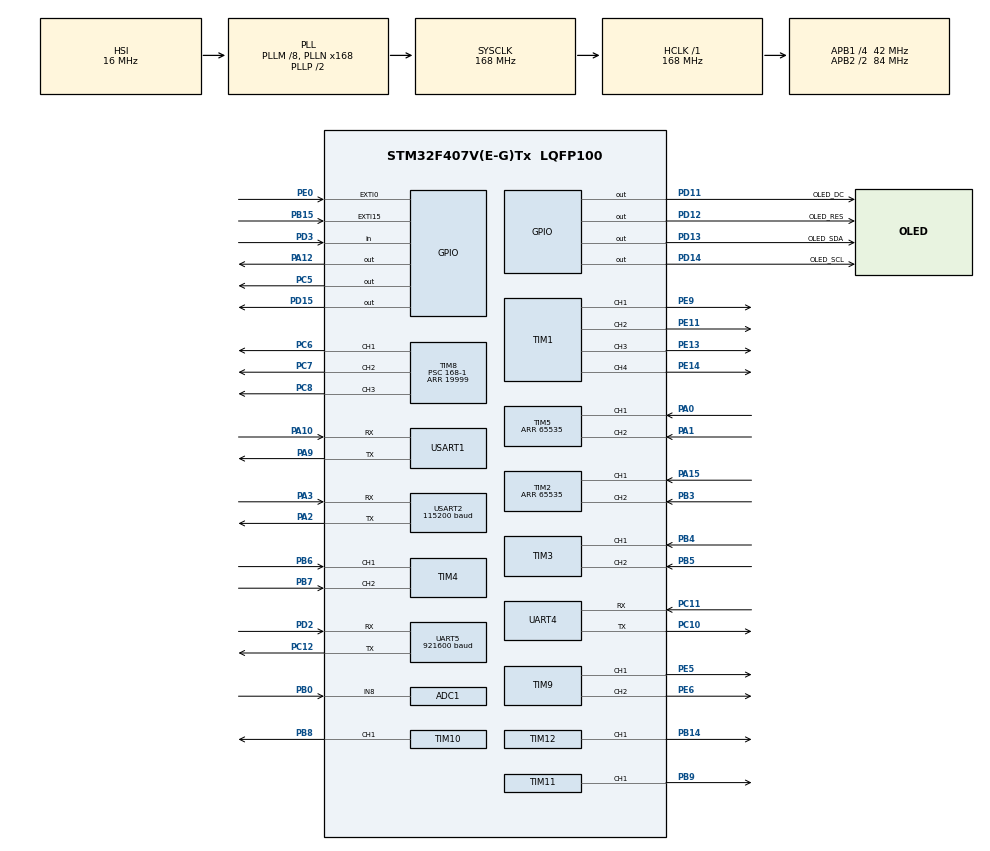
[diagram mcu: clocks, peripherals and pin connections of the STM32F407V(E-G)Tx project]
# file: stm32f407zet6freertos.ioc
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ADC1.Channel-2\#ChannelRegularConversion=ADC_CHANNEL_8
ADC1.NbrOfConversionFlag=1
ADC1.Rank-2\#ChannelRegularConversion=1
ADC1.SamplingTime-2\#ChannelRegularConversion=ADC_SAMPLETIME_3CYCLES
ADC1.master=1
Dma.Request0=USART1_RX
Dma.Request1=USART1_TX
Dma.Request2=UART5_RX
Dma.Request3=UART5_TX
Dma.Request4=UART4_RX
Dma.Request5=UART4_TX
Dma.Request6=USART2_RX
Dma.Request7=USART2_TX
Dma.UART4_RX.4.Direction=DMA_PERIPH_TO_MEMORY
Dma.UART4_RX.4.FIFOMode=DMA_FIFOMODE_DISABLE
Dma.UART4_RX.4.Instance=DMA1_Stream2
Dma.UART4_RX.4.MemDataAlignment=DMA_MDATAALIGN_BYTE
Dma.UART4_RX.4.MemInc=DMA_MINC_ENABLE
Dma.UART4_RX.4.Mode=DMA_NORMAL
Dma.UART4_RX.4.PeriphDataAlignment=DMA_PDATAALIGN_BYTE
Dma.UART4_RX.4.PeriphInc=DMA_PINC_DISABLE
Dma.UART4_RX.4.Priority=DMA_PRIORITY_LOW
Dma.UART4_TX.5.Direction=DMA_MEMORY_TO_PERIPH
Dma.UART4_TX.5.FIFOMode=DMA_FIFOMODE_DISABLE
Dma.UART4_TX.5.Instance=DMA1_Stream4
Dma.UART4_TX.5.MemDataAlignment=DMA_MDATAALIGN_BYTE
Dma.UART4_TX.5.MemInc=DMA_MINC_ENABLE
Dma.UART4_TX.5.Mode=DMA_NORMAL
Dma.UART4_TX.5.PeriphDataAlignment=DMA_PDATAALIGN_BYTE
Dma.UART4_TX.5.PeriphInc=DMA_PINC_DISABLE
Dma.UART4_TX.5.Priority=DMA_PRIORITY_LOW
Dma.UART5_RX.2.Direction=DMA_PERIPH_TO_MEMORY
Dma.UART5_RX.2.FIFOMode=DMA_FIFOMODE_DISABLE
Dma.UART5_RX.2.Instance=DMA1_Stream0
Dma.UART5_RX.2.MemDataAlignment=DMA_MDATAALIGN_BYTE
Dma.UART5_RX.2.MemInc=DMA_MINC_ENABLE
Dma.UART5_RX.2.Mode=DMA_NORMAL
Dma.UART5_RX.2.PeriphDataAlignment=DMA_PDATAALIGN_BYTE
Dma.UART5_RX.2.PeriphInc=DMA_PINC_DISABLE
Dma.UART5_RX.2.Priority=DMA_PRIORITY_LOW
Dma.UART5_TX.3.Direction=DMA_MEMORY_TO_PERIPH
Dma.UART5_TX.3.FIFOMode=DMA_FIFOMODE_DISABLE
Dma.UART5_TX.3.Instance=DMA1_Stream7
Dma.UART5_TX.3.MemDataAlignment=DMA_MDATAALIGN_BYTE
Dma.UART5_TX.3.MemInc=DMA_MINC_ENABLE
Dma.UART5_TX.3.Mode=DMA_NORMAL
Dma.UART5_TX.3.PeriphDataAlignment=DMA_PDATAALIGN_BYTE
Dma.UART5_TX.3.PeriphInc=DMA_PINC_DISABLE
Dma.UART5_TX.3.Priority=DMA_PRIORITY_LOW
Dma.USART1_RX.0.Direction=DMA_PERIPH_TO_MEMORY
Dma.USART1_RX.0.FIFOMode=DMA_FIFOMODE_DISABLE
Dma.USART1_RX.0.Instance=DMA2_Stream2
Dma.USART1_RX.0.MemDataAlignment=DMA_MDATAALIGN_BYTE
Dma.USART1_RX.0.MemInc=DMA_MINC_ENABLE
Dma.USART1_RX.0.Mode=DMA_NORMAL
Dma.USART1_RX.0.PeriphDataAlignment=DMA_PDATAALIGN_BYTE
Dma.USART1_RX.0.PeriphInc=DMA_PINC_DISABLE
Dma.USART1_RX.0.Priority=DMA_PRIORITY_LOW
Dma.USART1_TX.1.Direction=DMA_MEMORY_TO_PERIPH
Dma.USART1_TX.1.FIFOMode=DMA_FIFOMODE_DISABLE
Dma.USART1_TX.1.Instance=DMA2_Stream7
Dma.USART1_TX.1.MemDataAlignment=DMA_MDATAALIGN_BYTE
Dma.USART1_TX.1.MemInc=DMA_MINC_ENABLE
Dma.USART1_TX.1.Mode=DMA_NORMAL
Dma.USART1_TX.1.PeriphDataAlignment=DMA_PDATAALIGN_BYTE
Dma.USART1_TX.1.PeriphInc=DMA_PINC_DISABLE
Dma.USART1_TX.1.Priority=DMA_PRIORITY_LOW
Dma.USART2_RX.6.Direction=DMA_PERIPH_TO_MEMORY
Dma.USART2_RX.6.FIFOMode=DMA_FIFOMODE_DISABLE
Dma.USART2_RX.6.Instance=DMA1_Stream5
Dma.USART2_RX.6.MemDataAlignment=DMA_MDATAALIGN_BYTE
Dma.USART2_RX.6.MemInc=DMA_MINC_ENABLE
Dma.USART2_RX.6.Mode=DMA_NORMAL
Dma.USART2_RX.6.PeriphDataAlignment=DMA_PDATAALIGN_BYTE
Dma.USART2_RX.6.PeriphInc=DMA_PINC_DISABLE
Dma.USART2_RX.6.Priority=DMA_PRIORITY_LOW
Dma.USART2_TX.7.Direction=DMA_MEMORY_TO_PERIPH
Dma.USART2_TX.7.FIFOMode=DMA_FIFOMODE_DISABLE
Dma.USART2_TX.7.Instance=DMA1_Stream6
Dma.USART2_TX.7.MemDataAlignment=DMA_MDATAALIGN_BYTE
Dma.USART2_TX.7.MemInc=DMA_MINC_ENABLE
Dma.USART2_TX.7.Mode=DMA_NORMAL
Dma.USART2_TX.7.PeriphDataAlignment=DMA_PDATAALIGN_BYTE
Dma.USART2_TX.7.PeriphInc=DMA_PINC_DISABLE
Dma.USART2_TX.7.Priority=DMA_PRIORITY_LOW
FREERTOS.Tasks01=defaultTask,24,256,StartDefaultTask,Default,NULL,Dynamic,NULL,NULL;myTask02,8,128,StartTask02,Default,NULL,Dynamic,NULL,NULL;myTask03,8,256,StartTask03,Default,NULL,Dynamic,NULL,NULL;myTask04,8,256,StartTask04,Default,NULL,Dynamic,NULL,NULL
Mcu.Family=STM32F4
Mcu.Name=STM32F407V(E-G)Tx
Mcu.Package=LQFP100
NVIC.DMA1_Stream0_IRQn=true\:5\:0\:false\:false\:true\:true\:false\:true\:true
NVIC.DMA1_Stream2_IRQn=true\:5\:0\:false\:false\:true\:true\:false\:true\:true
NVIC.DMA1_Stream4_IRQn=true\:5\:0\:false\:false\:true\:true\:false\:true\:true
NVIC.DMA1_Stream5_IRQn=true\:5\:0\:false\:false\:true\:true\:false\:true\:true
NVIC.DMA1_Stream6_IRQn=true\:5\:0\:false\:false\:true\:true\:false\:true\:true
NVIC.DMA1_Stream7_IRQn=true\:5\:0\:false\:false\:true\:true\:false\:true\:true
NVIC.DMA2_Stream2_IRQn=true\:5\:0\:false\:false\:true\:true\:false\:true\:true
NVIC.DMA2_Stream7_IRQn=true\:5\:0\:false\:false\:true\:true\:false\:true\:true
NVIC.EXTI0_IRQn=true\:5\:0\:false\:false\:true\:true\:true\:true\:true
NVIC.EXTI15_10_IRQn=true\:5\:0\:false\:false\:true\:true\:true\:true\:true
NVIC.PriorityGroup=NVIC_PRIORITYGROUP_4
NVIC.TIM2_IRQn=true\:5\:0\:false\:false\:true\:true\:true\:true\:true
NVIC.TIM3_IRQn=true\:5\:0\:false\:false\:true\:true\:true\:true\:true
NVIC.TIM4_IRQn=true\:5\:0\:false\:false\:true\:true\:true\:true\:true
NVIC.TIM5_IRQn=true\:5\:0\:false\:false\:true\:true\:true\:true\:true
NVIC.TIM8_BRK_TIM12_IRQn=true\:5\:0\:false\:false\:true\:true\:true\:true\:true
NVIC.TIM8_TRG_COM_TIM14_IRQn=true\:5\:0\:false\:false\:true\:false\:false\:true\:true
NVIC.TIM8_UP_TIM13_IRQn=true\:5\:0\:false\:false\:true\:true\:true\:true\:true
NVIC.TimeBase=TIM8_TRG_COM_TIM14_IRQn
NVIC.TimeBaseIP=TIM14
NVIC.UART4_IRQn=true\:5\:0\:false\:false\:true\:true\:true\:true\:true
NVIC.UART5_IRQn=true\:5\:0\:false\:false\:true\:true\:true\:true\:true
NVIC.USART1_IRQn=true\:5\:0\:false\:false\:true\:true\:true\:true\:true
NVIC.USART2_IRQn=true\:5\:0\:false\:false\:true\:true\:true\:true\:true
PA0-WKUP.Signal=S_TIM5_CH1
PA1.Signal=S_TIM5_CH2
PA10.Mode=Asynchronous
PA10.Signal=USART1_RX
PA12.Signal=GPIO_Output
PA13.Mode=Serial_Wire
PA13.Signal=SYS_JTMS-SWDIO
PA14.Mode=Serial_Wire
PA14.Signal=SYS_JTCK-SWCLK
PA15.Signal=S_TIM2_CH1_ETR
PA2.Mode=Asynchronous
PA2.Signal=USART2_TX
PA3.Mode=Asynchronous
PA3.Signal=USART2_RX
PA9.Mode=Asynchronous
PA9.Signal=USART1_TX
PB0.Signal=ADCx_IN8
PB14.Signal=S_TIM12_CH1
PB15.GPIO_ModeDefaultEXTI=GPIO_MODE_IT_FALLING
PB15.GPIO_PuPd=GPIO_PULLUP
PB15.Signal=GPXTI15
PB3.Signal=S_TIM2_CH2
PB4.Signal=S_TIM3_CH1
PB5.Signal=S_TIM3_CH2
PB6.Signal=S_TIM4_CH1
PB7.Signal=S_TIM4_CH2
PB8.Signal=S_TIM10_CH1
PB9.Signal=S_TIM11_CH1
PC10.Mode=Asynchronous
PC10.Signal=UART4_TX
PC11.Mode=Asynchronous
PC11.Signal=UART4_RX
PC12.Mode=Asynchronous
PC12.Signal=UART5_TX
PC5.Signal=GPIO_Output
PC6.Signal=S_TIM8_CH1
PC7.Signal=S_TIM8_CH2
PC8.Signal=S_TIM8_CH3
PD11.GPIO_Label=OLED_DC
PD11.Signal=GPIO_Output
PD12.GPIO_Label=OLED_RES
PD12.Signal=GPIO_Output
PD13.GPIO_Label=OLED_SDA
PD13.Signal=GPIO_Output
PD14.GPIO_Label=OLED_SCL
PD14.Signal=GPIO_Output
PD15.Signal=GPIO_Output
PD2.Mode=Asynchronous
PD2.Signal=UART5_RX
PD3.Signal=GPIO_Input
PE0.GPIO_ModeDefaultEXTI=GPIO_MODE_IT_FALLING
PE0.GPIO_PuPd=GPIO_PULLUP
PE0.Signal=GPXTI0
PE11.Signal=S_TIM1_CH2
PE13.Signal=S_TIM1_CH3
PE14.Signal=S_TIM1_CH4
PE5.Signal=S_TIM9_CH1
PE6.Signal=S_TIM9_CH2
PE9.Signal=S_TIM1_CH1
PH0-OSC_IN.Mode=HSE-External-Oscillator
PH0-OSC_IN.Signal=RCC_OSC_IN
PH1-OSC_OUT.Mode=HSE-External-Oscillator
PH1-OSC_OUT.Signal=RCC_OSC_OUT
ProjectManager.HeapSize=0x200
ProjectManager.StackSize=0x400
ProjectManager.TargetToolchain=MDK-ARM V5.32
RCC.48MHZClocksFreq_Value=84000000
RCC.AHBFreq_Value=168000000
RCC.APB1CLKDivider=RCC_HCLK_DIV4
RCC.APB1Freq_Value=42000000
RCC.APB1TimFreq_Value=84000000
RCC.APB2CLKDivider=RCC_HCLK_DIV2
RCC.APB2Freq_Value=84000000
RCC.APB2TimFreq_Value=168000000
RCC.CortexFreq_Value=168000000
RCC.HCLKFreq_Value=168000000
RCC.HSE_VALUE=25000000
RCC.HSI_VALUE=16000000
RCC.LSE_VALUE=32768
RCC.PLLM=8
RCC.PLLN=168
RCC.SYSCLKFreq_VALUE=168000000
RCC.SYSCLKSource=RCC_SYSCLKSOURCE_PLLCLK
RCC.VCOOutputFreq_Value=336000000
SH.ADCx_IN8.0=ADC1_IN8,IN8
SH.S_TIM10_CH1.0=TIM10_CH1,PWM Generation1 CH1
SH.S_TIM11_CH1.0=TIM11_CH1,PWM Generation1 CH1
SH.S_TIM12_CH1.0=TIM12_CH1,PWM Generation1 CH1
SH.S_TIM1_CH1.0=TIM1_CH1,PWM Generation1 CH1
SH.S_TIM1_CH2.0=TIM1_CH2,PWM Generation2 CH2
SH.S_TIM1_CH3.0=TIM1_CH3,PWM Generation3 CH3
SH.S_TIM1_CH4.0=TIM1_CH4,PWM Generation4 CH4
SH.S_TIM2_CH1_ETR.0=TIM2_CH1,Encoder_Interface
SH.S_TIM2_CH2.0=TIM2_CH2,Encoder_Interface
SH.S_TIM3_CH1.0=TIM3_CH1,Encoder_Interface
SH.S_TIM3_CH2.0=TIM3_CH2,Encoder_Interface
SH.S_TIM4_CH1.0=TIM4_CH1,Encoder_Interface
SH.S_TIM4_CH2.0=TIM4_CH2,Encoder_Interface
SH.S_TIM5_CH1.0=TIM5_CH1,Encoder_Interface
SH.S_TIM5_CH2.0=TIM5_CH2,Encoder_Interface
SH.S_TIM8_CH1.0=TIM8_CH1,PWM Generation1 CH1
SH.S_TIM8_CH2.0=TIM8_CH2,PWM Generation2 CH2
SH.S_TIM8_CH3.0=TIM8_CH3,PWM Generation3 CH3
SH.S_TIM9_CH1.0=TIM9_CH1,PWM Generation1 CH1
SH.S_TIM9_CH2.0=TIM9_CH2,PWM Generation2 CH2
TIM1.Channel-PWM\ Generation1\ CH1=TIM_CHANNEL_1
TIM1.Channel-PWM\ Generation2\ CH2=TIM_CHANNEL_2
TIM1.Channel-PWM\ Generation3\ CH3=TIM_CHANNEL_3
TIM1.Channel-PWM\ Generation4\ CH4=TIM_CHANNEL_4
TIM10.Channel=TIM_CHANNEL_1
TIM11.Channel=TIM_CHANNEL_1
TIM12.Channel-PWM\ Generation1\ CH1=TIM_CHANNEL_1
TIM12.Period=19999
TIM12.Prescaler=84-1
TIM12.Pulse-PWM\ Generation1\ CH1=9999
TIM2.EncoderMode=TIM_ENCODERMODE_TI12
TIM2.Period=65535
TIM3.EncoderMode=TIM_ENCODERMODE_TI12
TIM4.EncoderMode=TIM_ENCODERMODE_TI12
TIM5.EncoderMode=TIM_ENCODERMODE_TI12
TIM5.Period=65535
TIM8.Channel-PWM\ Generation1\ CH1=TIM_CHANNEL_1
TIM8.Channel-PWM\ Generation2\ CH2=TIM_CHANNEL_2
TIM8.Channel-PWM\ Generation3\ CH3=TIM_CHANNEL_3
TIM8.Period=19999
TIM8.Prescaler=168-1
TIM9.Channel-PWM\ Generation1\ CH1=TIM_CHANNEL_1
TIM9.Channel-PWM\ Generation2\ CH2=TIM_CHANNEL_2
UART4.VirtualMode=Asynchronous
UART5.BaudRate=921600
UART5.VirtualMode=Asynchronous
USART1.VirtualMode=VM_ASYNC
USART2.BaudRate=115200
USART2.VirtualMode=VM_ASYNC
VP_FREERTOS_VS_CMSIS_V2.Mode=CMSIS_V2
VP_SYS_VS_tim14.Mode=TIM14
VP_TIM10_VS_ClockSourceINT.Mode=Enable_Timer
VP_TIM11_VS_ClockSourceINT.Mode=Enable_Timer
board=custom

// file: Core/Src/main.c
/* USER CODE BEGIN Header */
/**
 ******************************************************************************
 * @file           : main.c
 * @brief          : Main program body
 ******************************************************************************
 * @attention
 *
 * Copyright (c) 2024 STMicroelectronics.
 * All rights reserved.
 *
 * This software is licensed under terms that can be found in the LICENSE file
 * in the root directory of this software component.
 * If no LICENSE file comes with this software, it is provided AS-IS.
 *
 ******************************************************************************
 */
/* USER CODE END Header */
#include "main.h"
#include "cmsis_os.h"
#include "adc.h"
#include "dma.h"
#include "tim.h"
#include "usart.h"
#include "gpio.h"

/* USER CODE BEGIN Includes */
#include "oled.h"
#include "motor.h"
#include "mpu.h"
#include "openmv.h"
#include "stepper_a4988.h"
#include "servo.h"
/* USER CODE END Includes */

void SystemClock_Config(void);
void MX_FREERTOS_Init(void);

/* USER CODE BEGIN 0 */

int fputc(int ch, FILE *f)
{
  HAL_UART_Transmit(&huart1, (uint8_t *)&ch, 1, HAL_MAX_DELAY);
  return ch;
}

/*
串口DMA接收中断回调函数
*/
uint8_t Rx_data[200] = {0};
char received_string[256];
extern DMA_HandleTypeDef hdma_usart1_rx;
extern uint8_t MPU_RX_flag;
extern uint8_t openmv_rx_flag;
void HAL_UARTEx_RxEventCallback(UART_HandleTypeDef *huart, uint16_t Size)
{
  if (huart == &huart1)
  {

    strcpy(received_string, (char *)Rx_data);
    fprintf(stdout, "%s\r\n", received_string); // 将串?????????????????????1接收到的数据返回到串?????????????????????1
    // HAL_UART_Transmit(&huart5, Rx_data, Size, HAL_MAX_DELAY);
    memset(Rx_data, 0, sizeof(Rx_data));
    HAL_UARTEx_ReceiveToIdle_DMA(huart, Rx_data, sizeof(Rx_data) - 1);
    __HAL_DMA_DISABLE_IT(&hdma_usart1_rx, DMA_IT_HT);
  }
  else if (huart == &huart5) // 接收MPU数据
  {
    MPU_UARTE_Rx_Callback(Size);
    MPU_RX_flag = 1 - MPU_RX_flag;
  }
  else if (huart == &huart4) // 接收OpenMV数据
  {
    openmv_uart_rx_callback(Size);
    openmv_rx_flag = 1 - openmv_rx_flag;
    HAL_GPIO_TogglePin(GPIOA, GPIO_PIN_12);
  }
  else if (huart == &huart2)
  {
    openmv2_uart_rx_callback(Size);
    openmv_rx_flag = 1 - openmv_rx_flag;
    HAL_GPIO_TogglePin(GPIOA, GPIO_PIN_12);
  }
}

void HAL_GPIO_EXTI_Callback(uint16_t GPIO_Pin)
{
  if (GPIO_Pin == GPIO_PIN_0) // 用户按键 按下归零???????螺仪和轮子编码器
  {
    calibrateAngleToZero();
    calibrateDistanceToZero();
  }
  else if (GPIO_Pin == GPIO_PIN_15) // PC3中断 滑台初始化位???????
  {
    uint16_t delay_time = 300;
    while (delay_time > 1)
    {
      delay_time--;
    }
    if (HAL_GPIO_ReadPin(GPIOB, GPIO_PIN_15) == GPIO_PIN_RESET)
    {
      Slider_position_init_Callback();
    }
  }
}

// 定时???????????8pwm输出回调函数
void HAL_TIM_OC_DelayElapsedCallback(TIM_HandleTypeDef *htim)
{
  if (htim->Instance == TIM12) // 判断定时器是 TIM8
  {
    if (htim->Channel == HAL_TIM_ACTIVE_CHANNEL_1) // 判断通道??????????? Channel 1
    {
      // printf("PWM1\r\n");
      stepper_pwm_Callback();
    }
  }
}
/* USER CODE END 0 */

int main(void)
{

  /* MCU Configuration--------------------------------------------------------*/

  /* Reset of all peripherals, Initializes the Flash interface and the Systick. */
  HAL_Init();

  /* Configure the system clock */
  SystemClock_Config();

  /* Initialize all configured peripherals */
  MX_GPIO_Init();
  MX_DMA_Init();
  MX_USART1_UART_Init();
  MX_TIM1_Init();
  MX_TIM4_Init();
  MX_TIM9_Init();
  MX_TIM11_Init();
  MX_TIM2_Init();
  MX_TIM3_Init();
  MX_TIM5_Init();
  MX_TIM10_Init();
  MX_ADC1_Init();
  MX_UART5_Init();
  MX_UART4_Init();
  MX_USART2_UART_Init();
  MX_TIM8_Init();
  MX_TIM12_Init();
  /* USER CODE BEGIN 2 */
  MPU_Init();
  OLED_Init();
  motor_init();
  PID_Init();
  Servo_Init();
  HAL_UARTEx_ReceiveToIdle_DMA(&huart1, Rx_data, 200 - 1); // 启用空闲中断接收
  __HAL_DMA_DISABLE_IT(&hdma_usart1_rx, DMA_IT_HT);        // 关闭DMA传输过半中断

  openmv_uart_init();
  HAL_Delay(100);
  openmv2_uart_init();
  HAL_Delay(100);
  calibrateAngleToZero();
  /* USER CODE END 2 */

  /* Init scheduler */
  osKernelInitialize();

  /* Call init function for freertos objects (in cmsis_os2.c) */
  MX_FREERTOS_Init();

  /* Start scheduler */
  osKernelStart();

  /* We should never get here as control is now taken by the scheduler */

  /* Infinite loop */
  while (1)
  {

  }
}

void SystemClock_Config(void)
{
  RCC_OscInitTypeDef RCC_OscInitStruct = {0};
  RCC_ClkInitTypeDef RCC_ClkInitStruct = {0};

  /** Configure the main internal regulator output voltage
   */
  __HAL_RCC_PWR_CLK_ENABLE();
  __HAL_PWR_VOLTAGESCALING_CONFIG(PWR_REGULATOR_VOLTAGE_SCALE1);

  /** Initializes the RCC Oscillators according to the specified parameters
   * in the RCC_OscInitTypeDef structure.
   */
  RCC_OscInitStruct.OscillatorType = RCC_OSCILLATORTYPE_HSI;
  RCC_OscInitStruct.HSIState = RCC_HSI_ON;
  RCC_OscInitStruct.HSICalibrationValue = RCC_HSICALIBRATION_DEFAULT;
  RCC_OscInitStruct.PLL.PLLState = RCC_PLL_ON;
  RCC_OscInitStruct.PLL.PLLSource = RCC_PLLSOURCE_HSI;
  RCC_OscInitStruct.PLL.PLLM = 8;
  RCC_OscInitStruct.PLL.PLLN = 168;
  RCC_OscInitStruct.PLL.PLLP = RCC_PLLP_DIV2;
  RCC_OscInitStruct.PLL.PLLQ = 4;
  if (HAL_RCC_OscConfig(&RCC_OscInitStruct) != HAL_OK)
  {
    Error_Handler();
  }

  /** Initializes the CPU, AHB and APB buses clocks
   */
  RCC_ClkInitStruct.ClockType = RCC_CLOCKTYPE_HCLK | RCC_CLOCKTYPE_SYSCLK | RCC_CLOCKTYPE_PCLK1 | RCC_CLOCKTYPE_PCLK2;
  RCC_ClkInitStruct.SYSCLKSource = RCC_SYSCLKSOURCE_PLLCLK;
  RCC_ClkInitStruct.AHBCLKDivider = RCC_SYSCLK_DIV1;
  RCC_ClkInitStruct.APB1CLKDivider = RCC_HCLK_DIV4;
  RCC_ClkInitStruct.APB2CLKDivider = RCC_HCLK_DIV2;

  if (HAL_RCC_ClockConfig(&RCC_ClkInitStruct, FLASH_LATENCY_5) != HAL_OK)
  {
    Error_Handler();
  }
}

void HAL_TIM_PeriodElapsedCallback(TIM_HandleTypeDef *htim)
{
  if (htim->Instance == TIM14)
  {
    HAL_IncTick();
  }
}

void Error_Handler(void)
{
  __disable_irq();
  while (1)
  {
  }
}

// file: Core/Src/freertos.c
/* USER CODE BEGIN Header */
/**
 ******************************************************************************
 * File Name          : freertos.c
 * Description        : Code for freertos applications
 ******************************************************************************
 * @attention
 *
 * Copyright (c) 2024 STMicroelectronics.
 * All rights reserved.
 *
 * This software is licensed under terms that can be found in the LICENSE file
 * in the root directory of this software component.
 * If no LICENSE file comes with this software, it is provided AS-IS.
 *
 ******************************************************************************
 */
/* USER CODE END Header */

#include "FreeRTOS.h"
#include "task.h"
#include "main.h"
#include "cmsis_os.h"

/* USER CODE BEGIN Includes */
#include "oled.h"
#include "adc_data.h"
#include "motor.h"
#include "mpu.h"
#include "stepper_a4988.h"
#include "openmv.h"
#include "user_task.h"
#include "servo.h"

/* USER CODE END Includes */

/* USER CODE BEGIN PTD */

extern SYS_STATE_Data sys_state_data;
extern MOTOR_Encoder motor_encoder;
extern OPENMV_data openmv_data;
/* USER CODE END PTD */

/* Definitions for defaultTask */
osThreadId_t defaultTaskHandle;
const osThreadAttr_t defaultTask_attributes = {
    .name = "defaultTask",
    .stack_size = 256 * 4,
    .priority = (osPriority_t)osPriorityNormal,
};
/* Definitions for myTask02 */
osThreadId_t myTask02Handle;
const osThreadAttr_t myTask02_attributes = {
    .name = "myTask02",
    .stack_size = 128 * 4,
    .priority = (osPriority_t)osPriorityLow,
};
/* Definitions for myTask03 */
osThreadId_t myTask03Handle;
const osThreadAttr_t myTask03_attributes = {
    .name = "myTask03",
    .stack_size = 256 * 4,
    .priority = (osPriority_t)osPriorityLow,
};
/* Definitions for myTask04 */
osThreadId_t myTask04Handle;
const osThreadAttr_t myTask04_attributes = {
    .name = "myTask04",
    .stack_size = 256 * 4,
    .priority = (osPriority_t)osPriorityLow,
};

void StartDefaultTask(void *argument);
void StartTask02(void *argument);
void StartTask03(void *argument);
void StartTask04(void *argument);

void MX_FREERTOS_Init(void); /* (MISRA C 2004 rule 8.1) */

void MX_FREERTOS_Init(void)
{

  /* Create the thread(s) */
  /* creation of defaultTask */
  defaultTaskHandle = osThreadNew(StartDefaultTask, NULL, &defaultTask_attributes);

  /* creation of myTask02 */
  myTask02Handle = osThreadNew(StartTask02, NULL, &myTask02_attributes);

  /* creation of myTask03 */
  myTask03Handle = osThreadNew(StartTask03, NULL, &myTask03_attributes);

  /* creation of myTask04 */
  myTask04Handle = osThreadNew(StartTask04, NULL, &myTask04_attributes);

}

/* USER CODE BEGIN Header_StartDefaultTask */

/**
 * @brief �???????????查剩余内内存
 *
 * @param task
 */
void check_stack_usage(TaskHandle_t task)
{
  UBaseType_t stack_water_mark = uxTaskGetStackHighWaterMark(task);

  printf("Stack high water mark: %u\n", stack_water_mark);
}

/**
 * @brief 获取当前时间
 *
 * @return float  单位：秒
 */
float get_time()
{
  return (float)HAL_GetTick() / 1000.0f;
}
/**
 * @brief  Function implementing the defaultTask thread.
 * @param  argument: Not used
 * @retval None
 */
/* USER CODE END Header_StartDefaultTask */
void StartDefaultTask(void *argument)
{
  /* USER CODE BEGIN StartDefaultTask */

  /* Infinite loop */
  for (;;)
  {
    // if (HAL_GetTick() / 1000 % 8 >= 4)
    // printf("Roll=%.2f, Pitch=%.2f, Yaw=%.2f\r\n", radiansToDegrees(sys_state_data.real_Roll), radiansToDegrees(sys_state_data.real_Pitch), radiansToDegrees(sys_state_data.real_Yaw));
    // printf("Roll=%.2f, Pitch=%.2f, Yaw=%.2f\r\n", radiansToDegrees(sys_state_data.Roll), radiansToDegrees(sys_state_data.Pitch), radiansToDegrees(sys_state_data.FullYaw));
    encoders_read();
    if (Get_IMU_Is_Working())
    {
    }
    else
    {
      MPU_Init();
    }

    osDelay(1);
  }
  /* USER CODE END StartDefaultTask */
}

/* USER CODE BEGIN Header_StartTask02 */
// OLED显示任务
/**
 * @brief Function implementing the myTask02 thread.
 * @param argument: Not used
 * @retval None
 */
/* USER CODE END Header_StartTask02 */
void StartTask02(void *argument)
{
  /* USER CODE BEGIN StartTask02 */

  /* Infinite loop */
  for (;;)
  {
    OLED_display_task();
    osDelay(1);
  }
  /* USER CODE END StartTask02 */
}

/* USER CODE BEGIN Header_StartTask03 */
extern int stepper_count;
/**
 * @brief Function implementing the myTask03 thread.
 * @param argument: Not used
 * @retval None
 */
/* USER CODE END Header_StartTask03 */
void StartTask03(void *argument)
{
  /* USER CODE BEGIN StartTask03 */
  // for (;;)
  // {
  //   if (Get_IMU_Is_Working())
  //   {
  //     break;
  //   }
  // }
  stepper_enable(0);
  Set_Table_Pos(0);
  Set_Sliding_table_Pos(0);
  Release_material();
  Camera_switch_mode(FIND_LINE_MODE);
  // Slider_position_init();
  // osDelay(1000);
  // set_Slider_position(150, 7);

  osDelay(1000);
  for (;;)
  {

    if (HAL_GPIO_ReadPin(GPIOD, GPIO_PIN_3) == GPIO_PIN_SET)
    {
      break;
    }
  }

  osDelay(1000);
  Slider_position_init();
  osDelay(1000);
  set_Slider_position(150, 7);
  QrCode_Task();

  osDelay(1000);

  // Catch_material();
  main_task();
  // base_run_angle(3, 5);
  // Get_material(0);
  // osDelay(1000);
  // Get_material(1);
  // osDelay(1000);
  // Get_material(2);
  // osDelay(1000);

  // base_run_distance(20, 2);
  // osDelay(1000);
  // base_run_distance(-60, 2);
  // base_run_angle(90, 1);

  // find_line_calibrate_MPU();
  // find_line_calibrate_MPU_PID();
  // base_control(0, 0, 5);
  // Set_Sliding_table_Pos(1);
  // osDelay(2000);
  // Set_Sliding_table_Pos(0);
  // osDelay(2000);

  // MaterialArea_Task();
  // base_rotation_world(180, 3);

  // RoughProcessingArea_Task();
  // base_control(0, 0, 10);

  // // Get_material(0);
  // // osDelay(1000);
  // Put_material(2);
  // osDelay(1000);

  // base_run_distance(1, 2);
  // osDelay(1000);
  // base_run_distance(-1, 2);
  // osDelay(1000);

  // base_Horizontal_run_distance(20, 2);
  // osDelay(1000);
  // base_Horizontal_run_distance(-20, 2);
  // osDelay(1000);
  // osDelay(1000);
  // base_run_angle(3, 3);

  // osDelay(1000);
  /* Infinite loop */
  float test_speed;
  float temp = 2.5;
  for (;;)
  {
    // set_motor_speed(1, 4);
    if (fmod(get_time(), 5.0) < 2.5)
    {
      test_speed = temp;
    }
    else
    {
      test_speed = -temp;
    }
    // set_motor_speed(0, test_speed);
    // set_motor_speed(1, test_speed);
    // set_motor_speed(2, test_speed);
    // set_motor_speed(3, test_speed);
    // base_control(0, test_speed, 0);
    // Catch_material();
    // osDelay(1000);
    // Release_material();
    // osDelay(1000);
    osDelay(1);
  }
  /* USER CODE END StartTask03 */
}

void StartTask04(void *argument)
{
  /* USER CODE BEGIN StartTask04 */
  /* Infinite loop */
  for (;;)
  {
    // RemoteControl_Task();
    osDelay(1);
  }
  /* USER CODE END StartTask04 */
}
